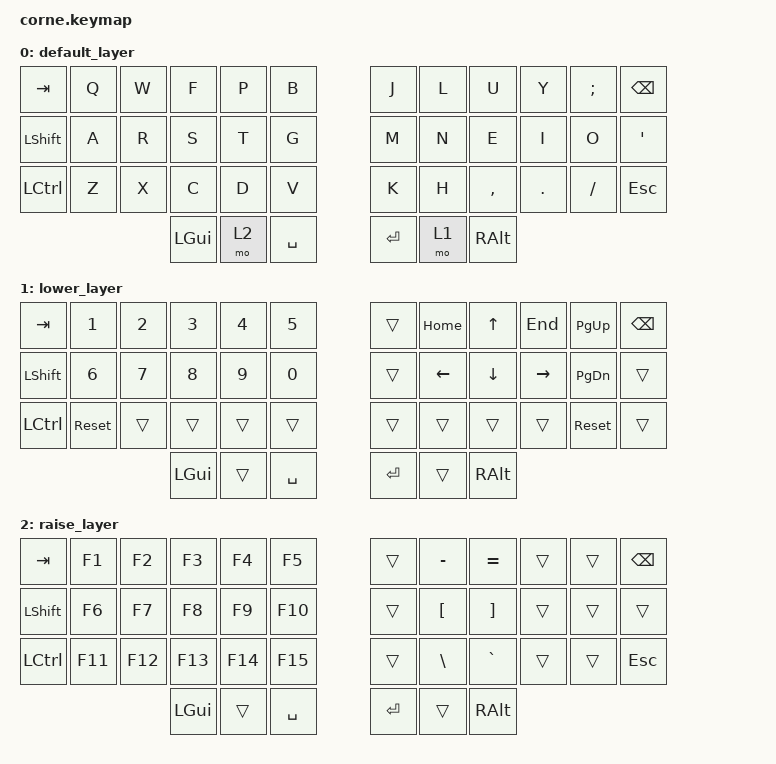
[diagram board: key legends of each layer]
/*
 * Copyright (c) 2020 The ZMK Contributors
 *
 * SPDX-License-Identifier: MIT
 */

#include <behaviors.dtsi>
#include <dt-bindings/zmk/keys.h>

/ {
    keymap {
        compatible = "zmk,keymap";

        default_layer {
            // -----------------------------------------------------------------------------------------
            //  |  TAB |  Q  |  W  |  F  |  D  |  P  |   |  J  |  L   |  U  |  Y  |  ;  | BSPC |
            //  | SHFT |  A  |  R  |  S  |  T  |  G  |   |  M  |  N   |  E  |  I  |  O  |  '   |
            //  | CTRL |  Z  |  X  |  C  |  V  |  B  |   |  K  |  H   |  ,  |  .  |  /  | ESC  |
            //                     | GUI | MO2 | SPC |   | ENT | MO1  | ALT |

            bindings = <
&kp TAB    &kp Q  &kp W  &kp F     &kp P  &kp B        &kp J    &kp L  &kp U      &kp Y    &kp SEMI  &kp BSPC
&kp LSHFT  &kp A  &kp R  &kp S     &kp T  &kp G        &kp M    &kp N  &kp E      &kp I    &kp O     &kp SQT
&kp LCTRL  &kp Z  &kp X  &kp C     &kp D  &kp V        &kp K    &kp H  &kp COMMA  &kp DOT  &kp FSLH  &kp ESC
                         &kp LGUI  &mo 2  &kp SPACE    &kp RET  &mo 1  &kp RALT
            >;
        };

        lower_layer {
            // -----------------------------------------------------------------------------------------
            //       |  TAB |  1  |  2  |  3  |  4  |  5  |    |     |  HM |  UP | END | PGU | BSPC |
            //       | SHFT |  6  |  7  |  8  |  9  |  0  |    |     | LFT | DWN | RGT | PGD |  ~   |
            //       | CTRL |     |     |     |     |     |    |     |     |     |     |  \  | ESC  |
            //                          | GUI |     | SPC |    | ENT |     | ALT |

            bindings = <
&kp TAB    &kp N1      &kp N2  &kp N3    &kp N4  &kp N5       &trans   &kp HOME  &kp UP    &kp END    &kp PG_UP   &kp BSPC
&kp LSHFT  &kp N6      &kp N7  &kp N8    &kp N9  &kp N0       &trans   &kp LEFT  &kp DOWN  &kp RIGHT  &kp PG_DN   &trans
&kp LCTRL  &sys_reset  &trans  &trans    &trans  &trans       &trans   &trans    &trans    &trans     &sys_reset  &trans
                               &kp LGUI  &trans  &kp SPACE    &kp RET  &trans    &kp RALT
            >;
        };

        raise_layer {
            // -----------------------------------------------------------------------------------------
            //            |  TAB |  F1 | F2  | F3  | F4  | F5  |   |      |      |      |      |      |  BSPC |
            //            | SHSHFT |  F6 | F7  | F8  | F9  | F10 |   |      |      |      |      |      |       |
            //            | CTRL | F11 | F12 | F13 | F14 | F15 |   |      |      |      |      |      |       |
            //                               | GUI |     | SPC |   | ENT  |      | ALT  |

            bindings = <
&kp TAB    &kp F1   &kp F2   &kp F3    &kp F4   &kp F5       &trans   &kp MINUS         &kp EQUAL          &trans  &trans  &kp BSPC
&kp LSHFT  &kp F6   &kp F7   &kp F8    &kp F9   &kp F10      &trans   &kp LEFT_BRACKET  &kp RIGHT_BRACKET  &trans  &trans  &trans
&kp LCTRL  &kp F11  &kp F12  &kp F13   &kp F14  &kp F15      &trans   &kp BACKSLASH     &kp GRAVE          &trans  &trans  &kp ESC
                             &kp LGUI  &trans   &kp SPACE    &kp RET  &trans            &kp RALT
            >;
        };
    };
};
